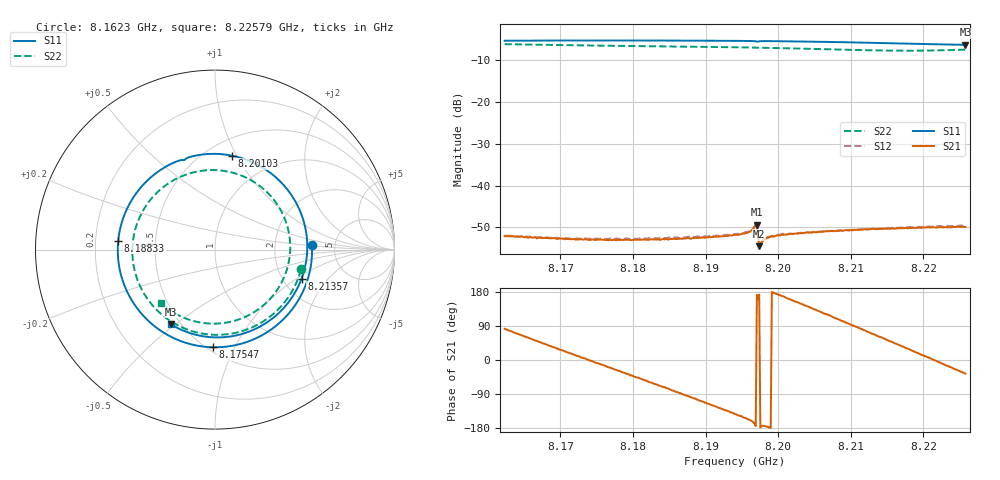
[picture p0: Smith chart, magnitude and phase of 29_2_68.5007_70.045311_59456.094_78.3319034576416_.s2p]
#  HZ  S  RI  R  50.00
! Rohde & Schwarz Vector Network Analyzer
! Rohde-Schwarz,ZNB20-2Port,1311601062101988,3.16
! Created: UTC 3/20/2024, 5:05:00 PM
! freq[Hz]  re:S11  im:S11  re:S21  im:S21  re:S12  im:S12  re:S22  im:S22
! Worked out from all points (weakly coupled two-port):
!   401 points, 8.1623 GHz to 8.22579 GHz, reference 50 ohm
!   highest |S21| = -49.32 dB at 8.19706 GHz (marker M1); lowest = -54.5 dB at 8.19738 GHz (marker M2)
!   lowest |S11| = -6.3 dB at 8.22579 GHz (marker M3), VSWR 2.87, Z = 22.2 - j24 ohm
!   |S11| at or under -10 dB: nowhere
!   |S22| runs from -7.7 to -6.2 dB; largest |S21 - S12| = 0.00021
!   S11 on the Smith chart (normalised r, x): 8.1623 GHz: 3.33, +0.24; 8.17547 GHz: 0.53, -0.82; 8.18833 GHz: 0.30, +0.04; 8.20103 GHz: 0.66, +0.96; 8.21357 GHz: 2.52, -1.10; 8.22579 GHz: 0.44, -0.48
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8.1623e9  0.5399 0.0255  0.00034 0.00246  0.000347 0.00251  0.479 -0.1107
8.16722e9  0.4593 -0.2904  0.00163 0.00173  0.00163 0.0018  0.3282 -0.3556
8.172934e9  0.158 -0.521  0.00227 0.000247  0.00231 0.000278  0.026 -0.4749
8.175474e9  -0.0134 -0.5441  0.00223 -0.000434  0.00229 -0.000438  -0.1175 -0.4573
8.179283e9  -0.2636 -0.4758  0.00179 -0.00136  0.00184 -0.00141  -0.3049 -0.3549
8.183569e9  -0.4716 -0.2692  0.000862 -0.00211  0.000884 -0.00218  -0.4359 -0.1569
8.188331e9  -0.5391 0.0506  -0.00045 -0.00232  -0.000504 -0.00238  -0.4466 0.104
8.191029e9  -0.4881 0.2315  -0.00124 -0.00209  -0.00131 -0.00216  -0.3865 0.2411
8.194045e9  -0.3611 0.3995  -0.00205 -0.00158  -0.00215 -0.00155  -0.2704 0.3615
8.195791e9  -0.26 0.4699  -0.0025 -0.00111  -0.0026 -0.00104  -0.1848 0.4087
8.196743e9  -0.1962 0.4969  -0.00313 -0.000648  -0.00322 -0.000546  -0.1343 0.4265
8.19706e9  -0.1738 0.4983  -0.00338 0.000484  -0.00343 0.000635  -0.117 0.4309
8.197378e9  -0.1619 0.5068  -0.00187 0.000241  -0.00191 0.000306  -0.0998 0.4347
8.197695e9  -0.1394 0.5162  -0.00206 -0.000208  -0.00214 -9.83e-05  -0.0821 0.4379
8.198806e9  -0.0606 0.5308  -0.00241 -6.49e-05  -0.00246 3.15e-05  -0.0191 0.4431
8.201028e9  0.0961 0.5231  -0.0025 0.000684  -0.00253 0.000782  0.1058 0.4265
8.204679e9  0.3269 0.4129  -0.00198 0.00191  -0.00196 0.00201  0.2869 0.323
8.209282e9  0.4989 0.1406  -0.000488 0.00291  -0.000396 0.00293  0.4131 0.086
8.213568e9  0.4824 -0.1614  0.0013 0.00273  0.00138 0.00274  0.3776 -0.1702
8.215314e9  0.4245 -0.2728  0.00195 0.00234  0.00205 0.00236  0.3181 -0.2624
8.22071e9  0.1056 -0.4807  0.00317 0.000365  0.00324 0.000236  0.0114 -0.4123
8.225789e9  -0.2476 -0.415  0.0026 -0.00188  0.00259 -0.00205  -0.3033 -0.2955
